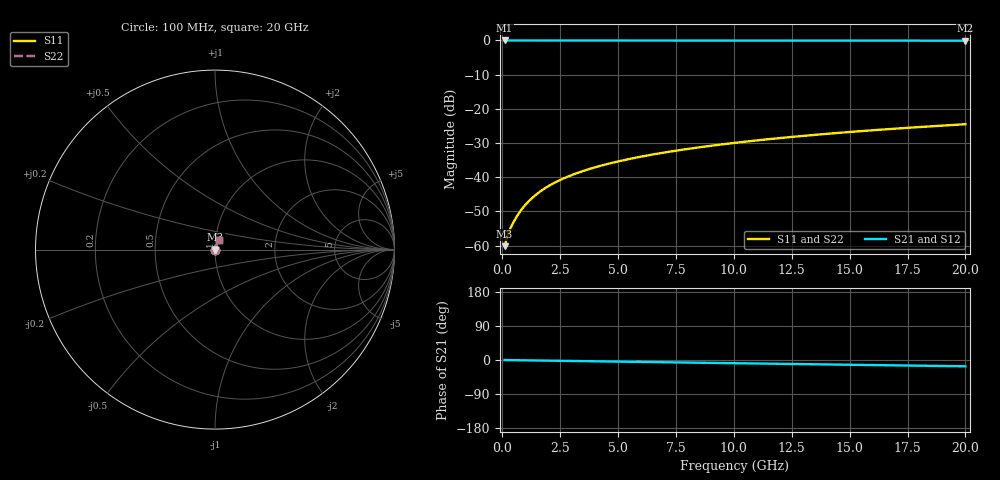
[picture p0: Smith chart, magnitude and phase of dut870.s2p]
! Touchstone file exported from HFSS 2026.1.0
!  File:  C:/ffzhzh/LocalFiles/Ansys_Project_Files/temp_train_BSMRDL_870_1783170900_18472.aedt
!  Generated:  09:16:09 PM Jul  4, 2026
!  Design:  BSMRDL
!  Project:  temp_train_BSMRDL_870_1783170900_18472
! Variables:
!  h_bsmrdl = 5.74um
!  h_ox = 20um
!  h_rdl = 5um
!  h_sub = 80um
!  h_tmrdl = 5um
!  h_tsv = 80um
!  h_via = 3um
!  l_bsmrdl = 274.75um
!  l_sub = 674.75um
!  l_tmrdl = 200um
!  m_sub = 200um
!  pitch = 36.53um
!  r_tsv = 6um
!  s_tmrdl = 10um
!  w_bsmrdl = 26.68um
!  w_sub = 500um
!  w_tmrdl = 12um
!  x_tsv_center1 = 206um
!  x_tsv_center2 = 507.43um
!  x_tsv_center3 = 719.43um
!  x_tsv_center4 = 1020.86um
!  x_tsv_center5 = 1232.86um
!  x_tsv_center6 = 1534.29um
# GHz S MA R 50.000000
! Terminal data exported
! Port[1] = BSM_RDL1_1_T1
! Port[2] = BSM_RDL1_1_T2
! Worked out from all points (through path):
!   200 points, 100 MHz to 20 GHz, reference 50 ohm
!   highest |S21| = -0.01 dB at 100 MHz (marker M1); lowest = -0.1 dB at 20 GHz (marker M2)
!   group delay of S21, straight-line fit = 2.3 ps
!   lowest |S11| = -60.2 dB at 100 MHz (marker M3), VSWR 1.00, Z = 50.1 + j0.0517 ohm
!   |S11| at or under -10 dB: start of sweep to end of sweep
!   |S22| runs from -60.2 to -24.5 dB; largest |S21 - S12| = 5.2e-15
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0.1  0.0009801 31.7  0.9992 -0.1  0.9992 -0.1  0.0009801 31.7
! Gamma 0 0 0 0
! Port Impedance 50 0 50 0
0.2  0.001315 43.9  0.9991 -0.2  0.9991 -0.2  0.001315 43.9
0.3  0.001624 51.0  0.999 -0.3  0.999 -0.3  0.001624 51.0
0.4  0.001933 56.4  0.9989 -0.4  0.9989 -0.4  0.001933 56.4
0.5  0.00225 60.5  0.9989 -0.4  0.9989 -0.4  0.00225 60.5
0.6  0.002578 63.7  0.9988 -0.5  0.9988 -0.5  0.002578 63.7
0.8  0.003256 68.2  0.9988 -0.7  0.9988 -0.7  0.003256 68.2
1  0.003949 71.0  0.9987 -0.9  0.9987 -0.9  0.003949 71.0
1.2  0.004649 72.8  0.9987 -1.0  0.9987 -1.0  0.004649 72.8
1.4  0.005349 74.0  0.9986 -1.2  0.9986 -1.2  0.005349 74.0
1.7  0.006393 75.1  0.9985 -1.5  0.9985 -1.5  0.006393 75.1
2.2  0.008104 76.0  0.9983 -1.9  0.9983 -1.9  0.008104 76.0
2.8  0.0101 76.3  0.998 -2.4  0.998 -2.4  0.0101 76.3
3.5  0.01235 76.3  0.9976 -3.0  0.9976 -3.0  0.01235 76.3
4.2  0.01454 76.2  0.9973 -3.6  0.9973 -3.6  0.01454 76.2
5  0.01699 76.0  0.997 -4.3  0.997 -4.3  0.01699 76.0
6.8  0.02236 75.3  0.9963 -5.8  0.9963 -5.8  0.02236 75.3
8.3  0.02675 74.7  0.9958 -7.0  0.9958 -7.0  0.02675 74.7
10.1  0.03196 73.8  0.9952 -8.5  0.9952 -8.5  0.03196 73.8
13.4  0.04134 71.9  0.9942 -11.2  0.9942 -11.2  0.04134 71.9
16.7  0.05052 69.7  0.9931 -13.9  0.9931 -13.9  0.05052 69.7
20  0.0595 67.4  0.9921 -16.7  0.9921 -16.7  0.05949 67.4
